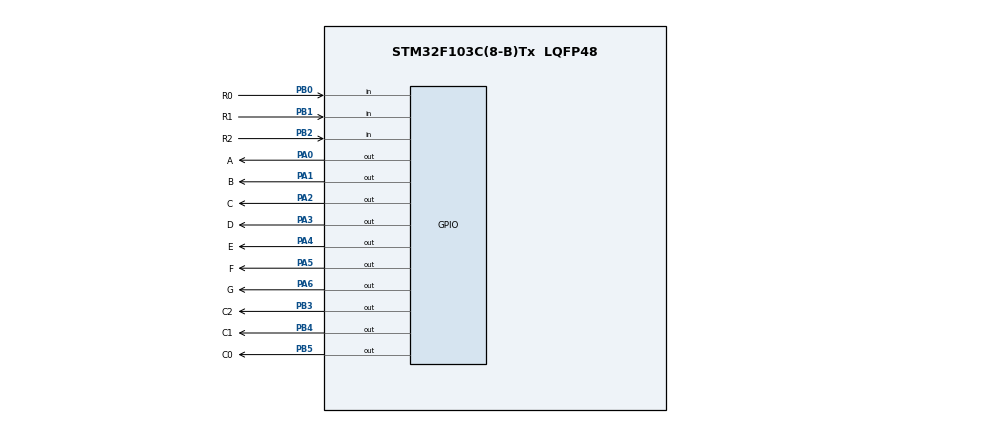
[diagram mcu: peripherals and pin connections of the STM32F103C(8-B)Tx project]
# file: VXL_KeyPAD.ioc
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Mcu.Family=STM32F1
Mcu.Name=STM32F103C(8-B)Tx
Mcu.Package=LQFP48
NVIC.PriorityGroup=NVIC_PRIORITYGROUP_4
PA0-WKUP.GPIO_Label=A
PA0-WKUP.Signal=GPIO_Output
PA1.GPIO_Label=B
PA1.Signal=GPIO_Output
PA13.Mode=Serial_Wire
PA13.Signal=SYS_JTMS-SWDIO
PA14.Mode=Serial_Wire
PA14.Signal=SYS_JTCK-SWCLK
PA2.GPIO_Label=C
PA2.Signal=GPIO_Output
PA3.GPIO_Label=D
PA3.Signal=GPIO_Output
PA4.GPIO_Label=E
PA4.Signal=GPIO_Output
PA5.GPIO_Label=F
PA5.Signal=GPIO_Output
PA6.GPIO_Label=G
PA6.Signal=GPIO_Output
PB0.GPIO_Label=R0
PB0.GPIO_PuPd=GPIO_PULLUP
PB0.Signal=GPIO_Input
PB1.GPIO_Label=R1
PB1.GPIO_PuPd=GPIO_PULLUP
PB1.Signal=GPIO_Input
PB2.GPIO_Label=R2
PB2.GPIO_PuPd=GPIO_PULLUP
PB2.Signal=GPIO_Input
PB3.GPIO_Label=C2
PB3.GPIO_PuPd=GPIO_NOPULL
PB3.PinState=GPIO_PIN_RESET
PB3.Signal=GPIO_Output
PB4.GPIO_Label=C1
PB4.GPIO_PuPd=GPIO_NOPULL
PB4.PinState=GPIO_PIN_RESET
PB4.Signal=GPIO_Output
PB5.GPIO_Label=C0
PB5.GPIO_PuPd=GPIO_NOPULL
PB5.PinState=GPIO_PIN_RESET
PB5.Signal=GPIO_Output
ProjectManager.HeapSize=0x200
ProjectManager.StackSize=0x400
ProjectManager.TargetToolchain=MDK-ARM V5.32
RCC.APB1Freq_Value=8000000
RCC.APB2Freq_Value=8000000
board=custom

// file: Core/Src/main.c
 /* USER CODE BEGIN Header */
/**
  ******************************************************************************
  * @file           : main.c
  * @brief          : Main program body
  ******************************************************************************
  * @attention
  *
  * Copyright (c) 2023 STMicroelectronics.
  * All rights reserved.
  *
  * This software is licensed under terms that can be found in the LICENSE file
  * in the root directory of this software component.
  * If no LICENSE file comes with this software, it is provided AS-IS.
  *
  ******************************************************************************
  */
/* USER CODE END Header */
#include "main.h"

/* USER CODE BEGIN PV */
const uint8_t LED[11] = {0xFC,0x60,0xDA,0xF2,0x66,0xB6,0xBE,0xE0,0xFE,0xF6,0x00};
uint8_t NUM_IN [10];
/* USER CODE END PV */

void SystemClock_Config(void);
static void MX_GPIO_Init(void);

/* USER CODE BEGIN 0 */
uint8_t pos_NUM() // neu void th� khong the return
{
	uint8_t num = 10; // khong nhan nut tat het
	HAL_GPIO_WritePin(C0_GPIO_Port,C0_Pin,0);
	NUM_IN[1] = HAL_GPIO_ReadPin(R0_GPIO_Port,R0_Pin);
	NUM_IN[4] = HAL_GPIO_ReadPin(R1_GPIO_Port,R1_Pin);
	NUM_IN[7] = HAL_GPIO_ReadPin(R2_GPIO_Port,R2_Pin);
	HAL_GPIO_WritePin(C0_GPIO_Port,C0_Pin,1);

	HAL_GPIO_WritePin(C1_GPIO_Port,C1_Pin,0);
	NUM_IN[2] = HAL_GPIO_ReadPin(R0_GPIO_Port,R0_Pin);
	NUM_IN[5] = HAL_GPIO_ReadPin(R1_GPIO_Port,R1_Pin);
	NUM_IN[8] = HAL_GPIO_ReadPin(R2_GPIO_Port,R2_Pin);
	HAL_GPIO_WritePin(C1_GPIO_Port,C1_Pin,1);

	HAL_GPIO_WritePin(C2_GPIO_Port,C2_Pin,0);
	NUM_IN[3] = HAL_GPIO_ReadPin(R0_GPIO_Port,R0_Pin);
	NUM_IN[6] = HAL_GPIO_ReadPin(R1_GPIO_Port,R1_Pin);
	NUM_IN[9] = HAL_GPIO_ReadPin(R2_GPIO_Port,R2_Pin);
	HAL_GPIO_WritePin(C2_GPIO_Port,C2_Pin,1);

	for(uint8_t i = 1 ;i<10 ; i++)
		{
			if (NUM_IN[i] == 0) num = i;
		}
	//HAL_Delay(100);
return num;
}

void LED_display(uint8_t num){
		HAL_GPIO_WritePin(A_GPIO_Port,A_Pin,LED[num]&(1<<7)); // 0B11110010
		HAL_GPIO_WritePin(B_GPIO_Port,B_Pin,LED[num]&(1<<6));
		HAL_GPIO_WritePin(C_GPIO_Port,C_Pin,LED[num]&(1<<5));
		HAL_GPIO_WritePin(D_GPIO_Port,D_Pin,LED[num]&(1<<4));
		HAL_GPIO_WritePin(E_GPIO_Port,E_Pin,LED[num]&(1<<3));
		HAL_GPIO_WritePin(F_GPIO_Port,F_Pin,LED[num]&(1<<2));
		HAL_GPIO_WritePin(G_GPIO_Port,G_Pin,LED[num]&(1<<1));
}
/* USER CODE END 0 */

int main(void)
{

  /* MCU Configuration--------------------------------------------------------*/

  /* Reset of all peripherals, Initializes the Flash interface and the Systick. */
  HAL_Init();

  /* Configure the system clock */
  SystemClock_Config();

  /* Initialize all configured peripherals */
  MX_GPIO_Init();
  /* USER CODE BEGIN 2 */
	HAL_GPIO_WritePin(C0_GPIO_Port,C0_Pin,1);
	HAL_GPIO_WritePin(C1_GPIO_Port,C1_Pin,1);
	HAL_GPIO_WritePin(C2_GPIO_Port,C2_Pin,1);
  /* USER CODE END 2 */

  /* Infinite loop */
  while (1)
  {
		LED_display(pos_NUM());
  }
}

void SystemClock_Config(void)
{
  RCC_OscInitTypeDef RCC_OscInitStruct = {0};
  RCC_ClkInitTypeDef RCC_ClkInitStruct = {0};

  /** Initializes the RCC Oscillators according to the specified parameters
  * in the RCC_OscInitTypeDef structure.
  */
  RCC_OscInitStruct.OscillatorType = RCC_OSCILLATORTYPE_HSI;
  RCC_OscInitStruct.HSIState = RCC_HSI_ON;
  RCC_OscInitStruct.HSICalibrationValue = RCC_HSICALIBRATION_DEFAULT;
  RCC_OscInitStruct.PLL.PLLState = RCC_PLL_NONE;
  if (HAL_RCC_OscConfig(&RCC_OscInitStruct) != HAL_OK)
  {
    Error_Handler();
  }

  /** Initializes the CPU, AHB and APB buses clocks
  */
  RCC_ClkInitStruct.ClockType = RCC_CLOCKTYPE_HCLK|RCC_CLOCKTYPE_SYSCLK
                              |RCC_CLOCKTYPE_PCLK1|RCC_CLOCKTYPE_PCLK2;
  RCC_ClkInitStruct.SYSCLKSource = RCC_SYSCLKSOURCE_HSI;
  RCC_ClkInitStruct.AHBCLKDivider = RCC_SYSCLK_DIV1;
  RCC_ClkInitStruct.APB1CLKDivider = RCC_HCLK_DIV1;
  RCC_ClkInitStruct.APB2CLKDivider = RCC_HCLK_DIV1;

  if (HAL_RCC_ClockConfig(&RCC_ClkInitStruct, FLASH_LATENCY_0) != HAL_OK)
  {
    Error_Handler();
  }
}

static void MX_GPIO_Init(void)
{
  GPIO_InitTypeDef GPIO_InitStruct = {0};

  /* GPIO Ports Clock Enable */
  __HAL_RCC_GPIOC_CLK_ENABLE();
  __HAL_RCC_GPIOD_CLK_ENABLE();
  __HAL_RCC_GPIOA_CLK_ENABLE();
  __HAL_RCC_GPIOB_CLK_ENABLE();

  /*Configure GPIO pin Output Level */
  HAL_GPIO_WritePin(GPIOA, A_Pin|B_Pin|C_Pin|D_Pin
                          |E_Pin|F_Pin|G_Pin, GPIO_PIN_RESET);

  /*Configure GPIO pin Output Level */
  HAL_GPIO_WritePin(GPIOB, C2_Pin|C1_Pin|C0_Pin, GPIO_PIN_RESET);

  /*Configure GPIO pins : PC13 PC14 PC15 */
  GPIO_InitStruct.Pin = GPIO_PIN_13|GPIO_PIN_14|GPIO_PIN_15;
  GPIO_InitStruct.Mode = GPIO_MODE_ANALOG;
  HAL_GPIO_Init(GPIOC, &GPIO_InitStruct);

  /*Configure GPIO pins : PD0 PD1 */
  GPIO_InitStruct.Pin = GPIO_PIN_0|GPIO_PIN_1;
  GPIO_InitStruct.Mode = GPIO_MODE_ANALOG;
  HAL_GPIO_Init(GPIOD, &GPIO_InitStruct);

  /*Configure GPIO pins : A_Pin B_Pin C_Pin D_Pin
                           E_Pin F_Pin G_Pin */
  GPIO_InitStruct.Pin = A_Pin|B_Pin|C_Pin|D_Pin
                          |E_Pin|F_Pin|G_Pin;
  GPIO_InitStruct.Mode = GPIO_MODE_OUTPUT_PP;
  GPIO_InitStruct.Pull = GPIO_NOPULL;
  GPIO_InitStruct.Speed = GPIO_SPEED_FREQ_LOW;
  HAL_GPIO_Init(GPIOA, &GPIO_InitStruct);

  /*Configure GPIO pins : PA7 PA8 PA9 PA10
                           PA11 PA12 PA15 */
  GPIO_InitStruct.Pin = GPIO_PIN_7|GPIO_PIN_8|GPIO_PIN_9|GPIO_PIN_10
                          |GPIO_PIN_11|GPIO_PIN_12|GPIO_PIN_15;
  GPIO_InitStruct.Mode = GPIO_MODE_ANALOG;
  HAL_GPIO_Init(GPIOA, &GPIO_InitStruct);

  /*Configure GPIO pins : R0_Pin R1_Pin R2_Pin */
  GPIO_InitStruct.Pin = R0_Pin|R1_Pin|R2_Pin;
  GPIO_InitStruct.Mode = GPIO_MODE_INPUT;
  GPIO_InitStruct.Pull = GPIO_PULLUP;
  HAL_GPIO_Init(GPIOB, &GPIO_InitStruct);

  /*Configure GPIO pins : PB10 PB11 PB12 PB13
                           PB14 PB15 PB6 PB7
                           PB8 PB9 */
  GPIO_InitStruct.Pin = GPIO_PIN_10|GPIO_PIN_11|GPIO_PIN_12|GPIO_PIN_13
                          |GPIO_PIN_14|GPIO_PIN_15|GPIO_PIN_6|GPIO_PIN_7
                          |GPIO_PIN_8|GPIO_PIN_9;
  GPIO_InitStruct.Mode = GPIO_MODE_ANALOG;
  HAL_GPIO_Init(GPIOB, &GPIO_InitStruct);

  /*Configure GPIO pins : C2_Pin C1_Pin C0_Pin */
  GPIO_InitStruct.Pin = C2_Pin|C1_Pin|C0_Pin;
  GPIO_InitStruct.Mode = GPIO_MODE_OUTPUT_PP;
  GPIO_InitStruct.Pull = GPIO_NOPULL;
  GPIO_InitStruct.Speed = GPIO_SPEED_FREQ_LOW;
  HAL_GPIO_Init(GPIOB, &GPIO_InitStruct);

  /*Configure peripheral I/O remapping */
  __HAL_AFIO_REMAP_PD01_ENABLE();

}

void Error_Handler(void)
{
  __disable_irq();
  while (1)
  {
  }
}
